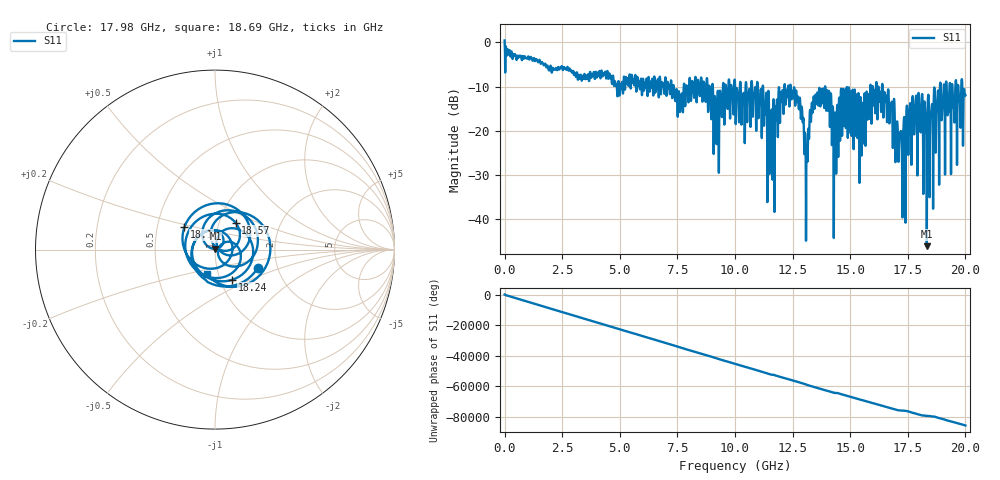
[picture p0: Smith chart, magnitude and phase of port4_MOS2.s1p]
! MS46122B
! 2250307/22442219
! 7/23/2025 1:10:02 PM
! C:\USERS\SPARKY\DOCUMENTS\VNA_DATA\JULY23_2025\295K\PORT4_MOS2.S1P
! CHANNEL.1
! TR.MEASUREMENT
! RAW.DATA
# GHZ S RI R 50.0
! FREQ.GHZ  S11RE  S11IM
!; PortSelection: Port_1
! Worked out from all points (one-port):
!   10001 points, 1 MHz to 20 GHz, reference 50 ohm
!   lowest |S11| = -46.1 dB at 18.33 GHz (marker M1), VSWR 1.01, Z = 50.2 + j0.439 ohm
!   |S11| at or under -10 dB: 12.42 GHz to 13.91 GHz (1.492 GHz wide, 11.3 % of centre); 13.92 GHz to 15.87 GHz (1.953 GHz wide, 13.1 % of centre); 16.41 GHz to 18.9 GHz (2.49 GHz wide, 14.1 % of centre) (the widest 3 of 62)
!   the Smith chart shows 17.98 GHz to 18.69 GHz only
!   S11 on the Smith chart (normalised r, x): 17.98 GHz: 1.58, -0.34; 18.1 GHz: 0.69, +0.18; 18.24 GHz: 1.14, -0.40; 18.57 GHz: 1.20, +0.37; 18.69 GHz: 0.89, -0.25
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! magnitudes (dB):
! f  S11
! 1 MHz  0.4
! 2.501 GHz  -5.6
! 5.001 GHz  -11.2
! 7.501 GHz  -14.7
! 8.711 GHz  -12.3
! 9.231 GHz  -13.4
! 10 GHz  -9.4
! 11.04 GHz  -13.0
! 11.64 GHz  -25.0
! 12.5 GHz  -11.4
! 12.88 GHz  -15.0
! 13.09 GHz  -32.1
! 13.58 GHz  -11.4
! 14.08 GHz  -11.1
! 14.3 GHz  -21.9
! 14.68 GHz  -10.8
! 15 GHz  -14.1
! 15.49 GHz  -24.1
! 16.47 GHz  -12.3
! 17.19 GHz  -20.2
! 17.5 GHz  -19.9
! 17.98 GHz  -11.7
! 18.1 GHz  -13.5
! 18.24 GHz  -14.2
! 18.33 GHz  -46.1
! 18.57 GHz  -14.5
! 18.69 GHz  -16.8
! 20 GHz  -12.0
